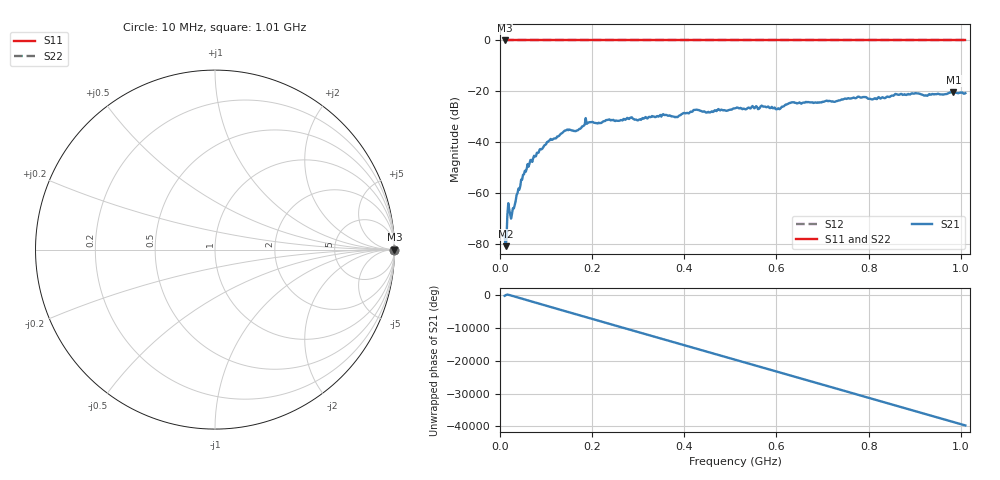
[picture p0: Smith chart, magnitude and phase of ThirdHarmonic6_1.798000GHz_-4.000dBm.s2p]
! 8/16/2025 9:45:26 PM
! C:\ANRITSUVNA\TEMP\TEMP.S2P
! CHANNEL.1
! TR.MEASUREMENT
! RAW.DATA
! RF.CORRECTION.OFF
! AVERAGING.OFF
! IF.BANDWIDTH: 5KHZ
! SWEEPTYPE:  FREQ.SWEEP(Linear)
! Reference Plane Port Info
! PORT:  PORT1  PORT2
! DISTANCE:  0  m  0  m
! TIME:  0  s  0  s
! PHASE.OFFSET:  0  deg.  0  deg.
! LOSS:  0  dB  0  dB
! REF.LOSS:  0  dB  0  dB
! REF.FREQ:  0  Hz  0  Hz
! Power Info
! POWER:  -20  dBm  -20  dBm
! EFF.POWER:  -20  dBm  -20  dBm
! SOURCE.ATTEN:  0  dB  0  dB
! TEST.ATTEN:  0  dB  0  dB
# GHZ S RI R 50.0
! FREQ.GHZ  S11RE  S11IM  S21RE  S21IM  S12RE  S12IM  S22RE  S22IM
!; PortSelection: Port_12
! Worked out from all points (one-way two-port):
!   501 points, 10 MHz to 1.01 GHz, reference 50 ohm
!   highest |S21| = -20.45 dB at 984 MHz (marker M1); lowest = -81.0 dB at 12 MHz (marker M2)
!   lowest |S11| = 0.0 dB at 10 MHz (marker M3)
!   |S11| at or under -10 dB: nowhere
!   |S22| runs from 0.0 to 0.0 dB; largest |S21 - S12| = 1.1
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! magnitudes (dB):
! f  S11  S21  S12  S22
! 10 MHz  0.0  -76.9  0.0  0.0
! 12 MHz  0.0  -81.0  0.0  0.0
! 20 MHz  0.0  -66.6  0.0  0.0
! 28 MHz  0.0  -66.1  0.0  0.0
! 50 MHz  0.0  -52.9  0.0  0.0
! 64 MHz  0.0  -48.5  0.0  0.0
! 106 MHz  0.0  -39.5  0.0  0.0
! 142 MHz  0.0  -35.5  0.0  0.0
! 164 MHz  0.0  -35.7  0.0  0.0
! 178 MHz  0.0  -33.9  0.0  0.0
! 190 MHz  0.0  -32.6  0.0  0.0
! 344 MHz  0.0  -30.0  0.0  0.0
! 382 MHz  0.0  -30.1  0.0  0.0
! 424 MHz  0.0  -27.3  0.0  0.0
! 452 MHz  0.0  -28.1  0.0  0.0
! 510 MHz  0.0  -26.7  0.0  0.0
! 604 MHz  0.0  -26.7  0.0  0.0
! 632 MHz  0.0  -24.4  0.0  0.0
! 678 MHz  0.0  -24.4  0.0  0.0
! 844 MHz  0.0  -22.3  0.0  0.0
! 984 MHz  0.0  -20.4  0.0  0.0
! 1.01 GHz  0.0  -20.7  0.0  0.0
